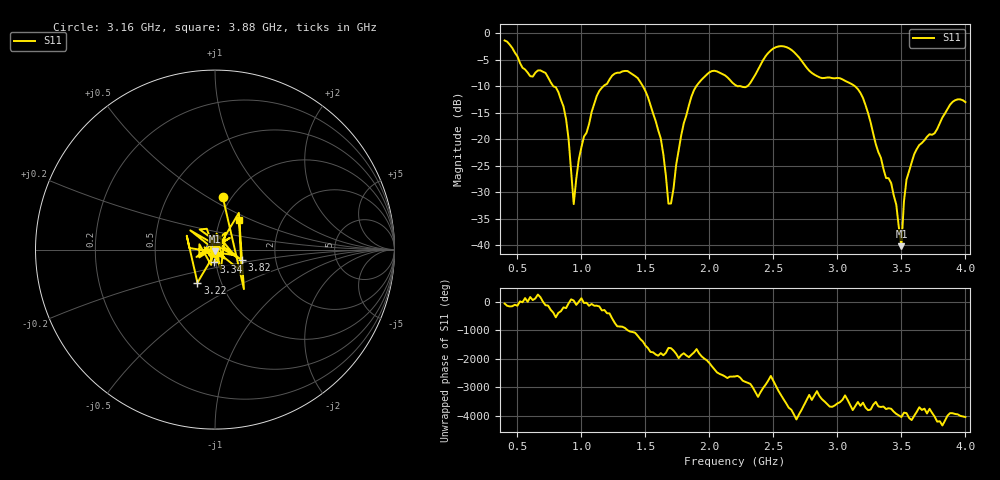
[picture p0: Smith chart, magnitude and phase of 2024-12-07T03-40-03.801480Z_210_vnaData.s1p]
!Created with skrf (http://scikit-rf.org).
# Hz S RI R 50.0
!freq ReS11 ImS11
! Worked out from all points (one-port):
!   181 points, 400 MHz to 4 GHz, reference 50 ohm
!   lowest |S11| = -40.2 dB at 3.5 GHz (marker M1), VSWR 1.02, Z = 50.1 - j0.976 ohm
!   |S11| at or under -10 dB: 779.1 MHz to 1.173 GHz (394.3 MHz wide, 40.4 % of centre); 1.48 GHz to 1.898 GHz (418.3 MHz wide, 24.8 % of centre); 3.135 GHz to end of sweep (the widest 3 of 4)
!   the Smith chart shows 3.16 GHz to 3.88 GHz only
!   S11 on the Smith chart (normalised r, x): 3.16 GHz: 0.91, +0.58; 3.22 GHz: 0.77, -0.30; 3.34 GHz: 0.98, -0.13; 3.82 GHz: 1.34, -0.16; 3.88 GHz: 1.23, +0.42
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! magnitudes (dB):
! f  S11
! 400 MHz  -1.4
! 720 MHz  -7.5
! 860 MHz  -13.8
! 900 MHz  -20.0
! 940 MHz  -32.3
! 980 MHz  -23.8
! 1.12 GHz  -11.9
! 1.3 GHz  -7.5
! 1.52 GHz  -12.1
! 1.62 GHz  -19.9
! 1.68 GHz  -32.2
! 1.76 GHz  -22.0
! 1.86 GHz  -12.0
! 1.94 GHz  -8.8
! 2.2 GHz  -9.8
! 2.5 GHz  -2.9
! 2.66 GHz  -3.6
! 3.1 GHz  -9.5
! 3.16 GHz  -10.6
! 3.22 GHz  -13.6
! 3.34 GHz  -23.5
! 3.46 GHz  -32.4
! 3.5 GHz  -40.2
! 3.52 GHz  -31.8
! 3.56 GHz  -26.1
! 3.82 GHz  -15.9
! 3.88 GHz  -13.5
! 4 GHz  -13.0
